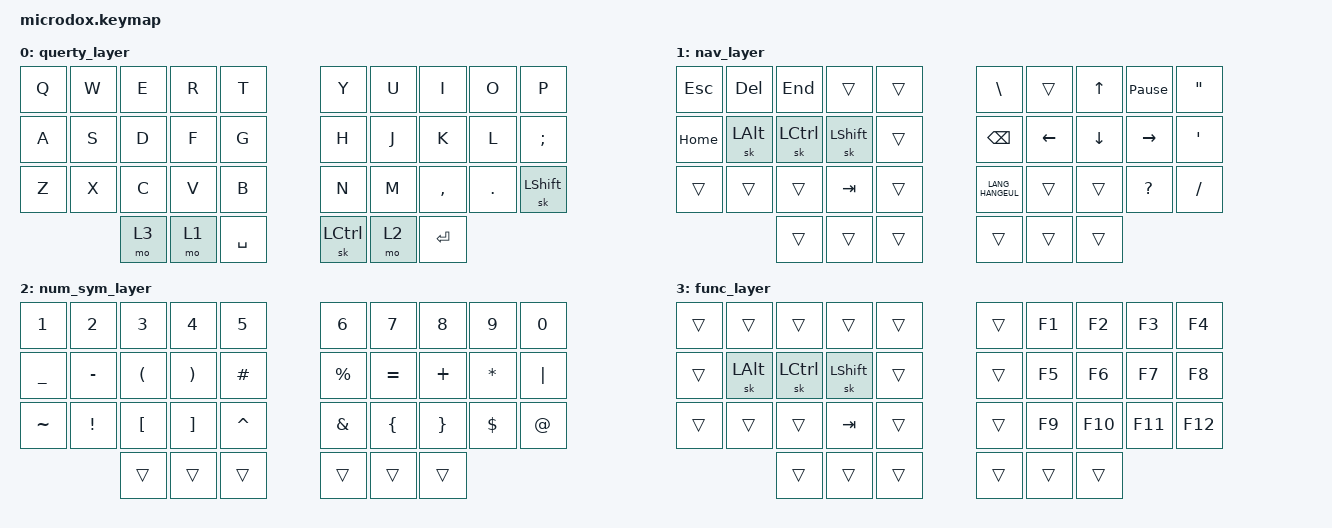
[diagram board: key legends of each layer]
/*
 * Copyright (c) 2020 The ZMK Contributors
 *
 * SPDX-License-Identifier: MIT
 */

#include <behaviors.dtsi>
#include <dt-bindings/zmk/keys.h>
#include <dt-bindings/zmk/bt.h>

/*
&mt {
    flavor = "tap-preferred";
    tapping-term-ms = <300>;
}
*/

&sk {
            release-after-ms = <1000>;
        };

        


/ {
        behaviors {
        hm: homerow_mods {
            compatible = "zmk,behavior-hold-tap";
            label = "HOMEROW_MODS";
            #binding-cells = <2>;
            tapping-term-ms = <175>;
            quick-tap-ms = <0>;
            flavor = "tap-preferred";
            bindings = <&kp>, <&kp>;
        };
    };

        keymap {
                compatible = "zmk,keymap";
                /*
                default_layer {
// -----------------------------------------------------------------------------------------
// |  Q  |  W  |  F  |  P  |  b   |   |  J  |  L   |  U  |  Y  |  ;  |
// |  A  |  R  |  S  |  T  |  G   |   |  M  |  N   |  E  |  I  |  O  |
// |  Z  |  X  |  C  |  D  |  V   |   |  K  |  H   |  ,  |  .  |  /  |
//             | QRTY | NUM | SPC |   | ENTER | NAV | ALT |
                        bindings = <
   &kp Q &kp W &kp F &kp P &kp B   &kp J &kp L  &kp U     &kp Y   &kp SEMI
   &kp A &kp R &kp S &kp T &kp G   &kp M &kp N  &kp E     &kp I   &kp O
   &kp Z &kp X &kp C &kp D &kp V   &kp K &kp H  &kp COMMA &kp DOT &kp FSLH
          &tog 1 &mo 2 &kp SPACE   &kp RET &mo 3 &kp LCTRL
                        >;
                };
                */
                querty_layer {
// -----------------------------------------------------------------------------------------
// |  Q  |  W  |  E  |  R  |  T   |   |  Y  |  U   |  I  |  O  |  P  |
// |  A  |  S  |  D  |  F  |  G   |   |  H  |  J   |  K  |  L  |  ;  |
// |  Z  |  X  |  C  |  V  |  B   |   |  N  |  M   |  ,  |  .  |  /  |
//             | GUI | NAV | SHFT |   | SPC | SYM  | ALT |
                        bindings = <
   &kp Q &kp W &kp E &kp R &kp T   &kp Y &kp U  &kp I     &kp O   &kp P
   &kp A &kp S &kp D &kp F &kp G  &kp H &kp J  &kp K      &kp L   &kp SEMI
   &kp Z &kp X &kp C &kp V &kp B   &kp N &kp M  &kp COMMA &kp DOT &sk LSHIFT
          &mo 3 &mo 1 &kp SPACE   &sk LCTRL &mo 2 &kp RET
                        >;
                };

                nav_layer {
// -----------------------------------------------------------------------------------------
// | WIN    |  DEL   |     |        |       |     |   \   |       |       |     |      |
// | HOME   |        |     |  RGT   | TAB   |     |  /    |  UP   |   END |     |      |
// | BT_CLR | BT_NXT |     | PG_UP  | LEFT  |     |  DOwN | BSPC  |   K/E |     |      |
//                |     |       |       |     |      |       |       |
                        bindings = <
   &kp ESC  &kp DEL     &kp END     &trans        &trans    &kp BSLH           &trans     &kp UP   &kp PAUSE_BREAK      &kp DOUBLE_QUOTES
   &kp HOME      &sk LALT    &sk LCTRL  &sk LSHIFT    &trans   &kp BSPC           &kp LEFT   &kp DOWN &kp RIGHT   &kp SINGLE_QUOTE
   &trans        &trans      &trans     &kp TAB       &trans    &kp LANG_HANGEUL   &trans     &trans   &kp QUESTION   &kp FSLH
                            &trans   &trans    &trans     &trans   &trans   &trans
                        >;
                };

                num_sym_layer {
// -----------------------------------------------------------------------------------------
// |  1  |  2  |  3  |  4  |  5  |   |  6  |  7  |  8  |  9  |  10  |
// |  _  |  -  |  (  |  )  |  #  |   |  %  |  =  |  +  |  *  |  "|" |
// |  ~  |  !  |  [  |  ]  |  ^  |   |  &  |  {  |  }  |  $  |   @  |
//             |     |     |     |   |     |     |     |
                        bindings = <
   &kp N1  &kp N2  &kp N3  &kp N4   &kp N5   &kp N6 &kp N7  &kp N8 &kp N9 &kp N0
   &kp UNDER  &kp MINUS  &kp LPAR   &kp RPAR    &kp HASH    &kp PRCNT &kp EQUAL  &kp PLUS  &kp ASTRK &kp PIPE
   &kp TILDE  &kp EXCL   &kp LBKT   &kp RBKT    &kp CARET   &kp AMPS  &kp LBRC   &kp RBRC  &kp DLLR  &kp AT
                       &trans  &trans    &trans   &trans   &trans    &trans
                        >;
                };


                func_layer {
// -----------------------------------------------------------------------------------------
// | WIN    |  DEL   |     |        |       |     |   \   |       |       |     |      |
// | HOME   |        |     |  RGT   | TAB   |     |  /    |  UP   |   END |     |      |
// | BT_CLR | BT_NXT |     | PG_UP  | LEFT  |     |  DOwN | BSPC  |   K/E |     |      |
//                |     |       |       |     |      |       |       |
                        bindings = <
   &trans      &trans      &trans     &trans        &trans    &trans   &kp F1    &kp F2    &kp F3   &kp F4 
   &trans      &sk LALT    &sk LCTRL  &sk LSHIFT    &trans   &trans   &kp F5    &kp F6    &kp F7   &kp F8
   &trans      &trans      &trans     &kp TAB       &trans    &trans   &kp F9    &kp F10   &kp F11  &kp F12
                            &trans   &trans    &trans     &trans   &trans   &trans
                        >;
                };

        };
};
